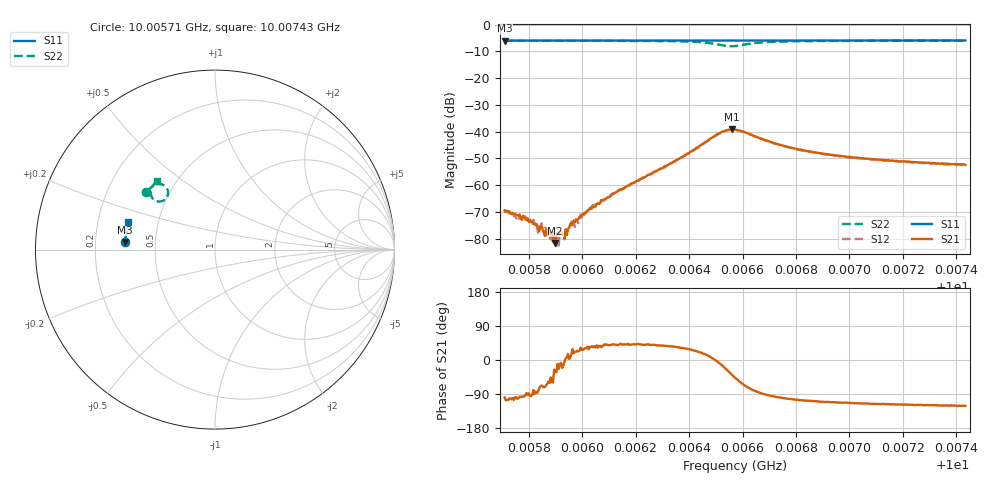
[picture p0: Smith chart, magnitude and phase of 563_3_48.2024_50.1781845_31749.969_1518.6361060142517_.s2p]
#  HZ  S  RI  R  50.00
! Rohde & Schwarz Vector Network Analyzer
! Rohde-Schwarz,ZNB20-2Port,1311601062101988,3.16
! Created: UTC 3/20/2024, 12:01:17 PM
! freq[Hz]  re:S11  im:S11  re:S21  im:S21  re:S12  im:S12  re:S22  im:S22
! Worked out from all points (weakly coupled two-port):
!   401 points, 10.00571 GHz to 10.00743 GHz, reference 50 ohm
!   highest |S21| = -39.15 dB at 10.00656 GHz (marker M1); lowest = -81.6 dB at 10.0059 GHz (marker M2)
!   lowest |S11| = -6.0 dB at 10.00571 GHz (marker M3), VSWR 3.02, Z = 16.6 + j1.88 ohm
!   |S11| at or under -10 dB: nowhere
!   |S22| runs from -8.1 to -6.0 dB; largest |S21 - S12| = 0.00072
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1.000571e10  -0.5001 0.0423  -5.04e-05 -0.000332  -4.46e-05 -0.000351  -0.3819 0.3186
1.0005753e10  -0.5 0.0451  -4.19e-05 -0.000278  -1.68e-05 -0.000239  -0.3797 0.3211
1.0005787e10  -0.4998 0.0473  -1.21e-05 -0.000236  2.3e-05 -0.000262  -0.3779 0.3233
1.0005822e10  -0.4997 0.0495  -4.5e-07 -0.000193  5.33e-05 -0.000192  -0.3763 0.3255
1.0005835e10  -0.4997 0.0504  1.79e-05 -0.000153  1.75e-05 -0.000127  -0.3756 0.3263
1.0005856e10  -0.4997 0.0519  4.02e-05 -0.000125  7.71e-05 -0.000154  -0.3746 0.3275
1.0005882e10  -0.4994 0.0534  9.16e-05 -9.49e-05  5.56e-05 -8.02e-05  -0.3731 0.3292
1.00059e10  -0.4993 0.0547  7.03e-05 -4.53e-05  7.94e-05 -8.28e-05  -0.3723 0.3303
1.0005934e10  -0.4991 0.057  9.79e-05 -8.29e-06  0.000101 -1.4e-06  -0.3703 0.3325
1.000596e10  -0.499 0.0586  0.000173 4.73e-05  0.000199 6.82e-05  -0.3688 0.3343
1.0005981e10  -0.4989 0.06  0.0002 9.08e-05  0.000176 0.000115  -0.3674 0.3355
1.0005999e10  -0.4987 0.0612  0.000253 0.000127  0.000221 0.000121  -0.3663 0.3368
1.000605e10  -0.4984 0.0645  0.000338 0.00022  0.000337 0.000284  -0.363 0.3403
1.0006115e10  -0.498 0.0686  0.000511 0.000454  0.000525 0.000483  -0.3582 0.3448
1.0006287e10  -0.4968 0.0798  0.00154 0.00122  0.00145 0.00129  -0.3397 0.3583
1.0006507e10  -0.4939 0.094  0.00904 -0.000776  0.00885 -0.000255  -0.2645 0.3333
1.0006559e10  -0.4932 0.0966  0.00866 -0.00682  0.00888 -0.00614  -0.278 0.2795
1.0006572e10  -0.4931 0.0973  0.00751 -0.00794  0.00781 -0.00736  -0.2911 0.2714
1.0006662e10  -0.4929 0.1029  0.00059 -0.00764  0.000991 -0.00749  -0.3531 0.2939
1.0006861e10  -0.4907 0.1158  -0.00132 -0.00399  -0.00108 -0.004  -0.3536 0.3422
1.0007149e10  -0.4868 0.1343  -0.00133 -0.00257  -0.00114 -0.00261  -0.3368 0.368
1.0007434e10  -0.4821 0.1518  -0.00125 -0.00205  -0.00111 -0.00211  -0.3214 0.3846
